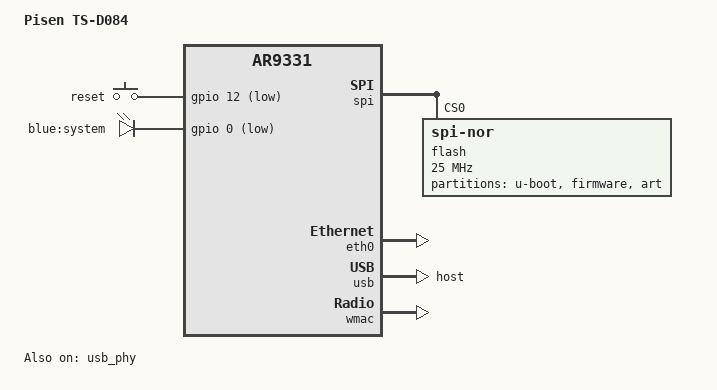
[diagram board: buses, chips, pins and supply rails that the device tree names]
// SPDX-License-Identifier: GPL-2.0-or-later OR MIT

#include "ar9331.dtsi"

#include <dt-bindings/gpio/gpio.h>
#include <dt-bindings/input/input.h>

/ {
	model = "Pisen TS-D084";
	compatible = "pisen,ts-d084", "qca,ar9331";

	aliases {
		led-boot = &led_system;
		led-failsafe = &led_system;
		led-running = &led_system;
		led-upgrade = &led_system;
		label-mac-device = &wmac;
	};

	keys {
		compatible = "gpio-keys";

		reset {
			label = "reset";
			linux,code = <KEY_RESTART>;
			gpios = <&gpio 12 GPIO_ACTIVE_LOW>;
			debounce-interval = <60>;
		};
	};

	leds {
		compatible = "gpio-leds";

		led_system: system {
			label = "blue:system";
			gpios = <&gpio 0 GPIO_ACTIVE_LOW>;
		};
	};
};

&spi {
	status = "okay";

	flash@0 {
		compatible = "jedec,spi-nor";
		reg = <0>;
		spi-max-frequency = <25000000>;

		partitions {
			compatible = "fixed-partitions";
			#address-cells = <1>;
			#size-cells = <1>;

			uboot: partition@0 {
				reg = <0x0 0x20000>;
				label = "u-boot";
				read-only;
			};

			firmware: partition@20000 {
				compatible = "tplink,firmware";
				reg = <0x20000 0x7d0000>;
				label = "firmware";
			};

			art: partition@7f0000 {
				reg = <0x7f0000 0x10000>;
				label = "art";
				read-only;
			};
		};
	};
};

&eth0 {
	status = "okay";

	nvmem-cells = <&macaddr_uboot_1fc00>;
	nvmem-cell-names = "mac-address";

	gmac-config {
		device = <&gmac>;

		switch-phy-addr-swap = <0>;
		switch-phy-swap = <0>;
	};
};

&eth1 {
	status = "okay";
	compatible = "syscon", "simple-mfd";
};

&usb {
	dr_mode = "host";
	status = "okay";
};

&usb_phy {
	status = "okay";
};

&wmac {
	status = "okay";
	mtd-cal-data = <&art 0x1000>;
	nvmem-cells = <&macaddr_uboot_1fc00>;
	nvmem-cell-names = "mac-address";
};

&uboot {
	compatible = "nvmem-cells";
	#address-cells = <1>;
	#size-cells = <1>;

	macaddr_uboot_1fc00: macaddr@1fc00 {
		reg = <0x1fc00 0x6>;
	};
};
